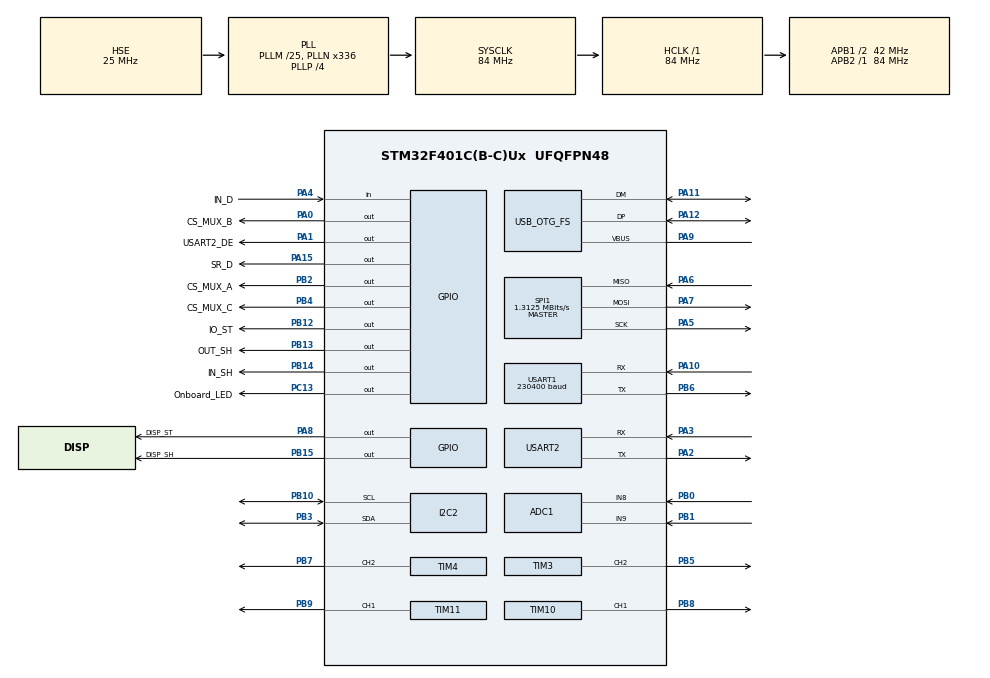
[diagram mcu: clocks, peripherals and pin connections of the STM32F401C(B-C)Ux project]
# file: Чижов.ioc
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ADC1.Channel-10\#ChannelRegularConversion=ADC_CHANNEL_8
ADC1.Channel-11\#ChannelRegularConversion=ADC_CHANNEL_9
ADC1.Channel-12\#ChannelRegularConversion=ADC_CHANNEL_VREFINT
ADC1.Channel-13\#ChannelRegularConversion=ADC_CHANNEL_VBAT
ADC1.Channel-14\#ChannelRegularConversion=ADC_CHANNEL_8
ADC1.Channel-15\#ChannelRegularConversion=ADC_CHANNEL_9
ADC1.Channel-16\#ChannelRegularConversion=ADC_CHANNEL_VREFINT
ADC1.Channel-17\#ChannelRegularConversion=ADC_CHANNEL_VBAT
ADC1.Channel-2\#ChannelRegularConversion=ADC_CHANNEL_8
ADC1.Channel-3\#ChannelRegularConversion=ADC_CHANNEL_9
ADC1.Channel-4\#ChannelRegularConversion=ADC_CHANNEL_VREFINT
ADC1.Channel-5\#ChannelRegularConversion=ADC_CHANNEL_VBAT
ADC1.Channel-6\#ChannelRegularConversion=ADC_CHANNEL_8
ADC1.Channel-7\#ChannelRegularConversion=ADC_CHANNEL_9
ADC1.Channel-8\#ChannelRegularConversion=ADC_CHANNEL_VREFINT
ADC1.Channel-9\#ChannelRegularConversion=ADC_CHANNEL_VBAT
ADC1.ClockPrescaler=ADC_CLOCK_SYNC_PCLK_DIV8
ADC1.DMAContinuousRequests=ENABLE
ADC1.ExternalTrigConv=ADC_EXTERNALTRIGCONV_T2_TRGO
ADC1.NbrOfConversion=16
ADC1.NbrOfConversionFlag=1
ADC1.Rank-10\#ChannelRegularConversion=9
ADC1.Rank-11\#ChannelRegularConversion=10
ADC1.Rank-12\#ChannelRegularConversion=11
ADC1.Rank-13\#ChannelRegularConversion=12
ADC1.Rank-14\#ChannelRegularConversion=13
ADC1.Rank-15\#ChannelRegularConversion=14
ADC1.Rank-16\#ChannelRegularConversion=15
ADC1.Rank-17\#ChannelRegularConversion=16
ADC1.Rank-2\#ChannelRegularConversion=1
ADC1.Rank-3\#ChannelRegularConversion=2
ADC1.Rank-4\#ChannelRegularConversion=3
ADC1.Rank-5\#ChannelRegularConversion=4
ADC1.Rank-6\#ChannelRegularConversion=5
ADC1.Rank-7\#ChannelRegularConversion=6
ADC1.Rank-8\#ChannelRegularConversion=7
ADC1.Rank-9\#ChannelRegularConversion=8
ADC1.SamplingTime-10\#ChannelRegularConversion=ADC_SAMPLETIME_480CYCLES
ADC1.SamplingTime-11\#ChannelRegularConversion=ADC_SAMPLETIME_480CYCLES
ADC1.SamplingTime-12\#ChannelRegularConversion=ADC_SAMPLETIME_480CYCLES
ADC1.SamplingTime-13\#ChannelRegularConversion=ADC_SAMPLETIME_480CYCLES
ADC1.SamplingTime-14\#ChannelRegularConversion=ADC_SAMPLETIME_3CYCLES
ADC1.SamplingTime-15\#ChannelRegularConversion=ADC_SAMPLETIME_480CYCLES
ADC1.SamplingTime-16\#ChannelRegularConversion=ADC_SAMPLETIME_480CYCLES
ADC1.SamplingTime-17\#ChannelRegularConversion=ADC_SAMPLETIME_480CYCLES
ADC1.SamplingTime-2\#ChannelRegularConversion=ADC_SAMPLETIME_480CYCLES
ADC1.SamplingTime-3\#ChannelRegularConversion=ADC_SAMPLETIME_480CYCLES
ADC1.SamplingTime-4\#ChannelRegularConversion=ADC_SAMPLETIME_480CYCLES
ADC1.SamplingTime-5\#ChannelRegularConversion=ADC_SAMPLETIME_480CYCLES
ADC1.SamplingTime-6\#ChannelRegularConversion=ADC_SAMPLETIME_480CYCLES
ADC1.SamplingTime-7\#ChannelRegularConversion=ADC_SAMPLETIME_480CYCLES
ADC1.SamplingTime-8\#ChannelRegularConversion=ADC_SAMPLETIME_480CYCLES
ADC1.SamplingTime-9\#ChannelRegularConversion=ADC_SAMPLETIME_480CYCLES
ADC1.ScanConvMode=ENABLE
ADC1.master=1
Dma.ADC1.0.Direction=DMA_PERIPH_TO_MEMORY
Dma.ADC1.0.FIFOMode=DMA_FIFOMODE_ENABLE
Dma.ADC1.0.FIFOThreshold=DMA_FIFO_THRESHOLD_FULL
Dma.ADC1.0.Instance=DMA2_Stream0
Dma.ADC1.0.MemBurst=DMA_MBURST_INC8
Dma.ADC1.0.MemDataAlignment=DMA_MDATAALIGN_HALFWORD
Dma.ADC1.0.MemInc=DMA_MINC_ENABLE
Dma.ADC1.0.Mode=DMA_CIRCULAR
Dma.ADC1.0.PeriphBurst=DMA_PBURST_SINGLE
Dma.ADC1.0.PeriphDataAlignment=DMA_PDATAALIGN_HALFWORD
Dma.ADC1.0.PeriphInc=DMA_PINC_DISABLE
Dma.ADC1.0.Priority=DMA_PRIORITY_MEDIUM
Dma.I2C2_RX.1.Direction=DMA_PERIPH_TO_MEMORY
Dma.I2C2_RX.1.FIFOMode=DMA_FIFOMODE_ENABLE
Dma.I2C2_RX.1.FIFOThreshold=DMA_FIFO_THRESHOLD_FULL
Dma.I2C2_RX.1.Instance=DMA1_Stream2
Dma.I2C2_RX.1.MemBurst=DMA_MBURST_SINGLE
Dma.I2C2_RX.1.MemDataAlignment=DMA_MDATAALIGN_WORD
Dma.I2C2_RX.1.MemInc=DMA_MINC_ENABLE
Dma.I2C2_RX.1.Mode=DMA_NORMAL
Dma.I2C2_RX.1.PeriphBurst=DMA_PBURST_SINGLE
Dma.I2C2_RX.1.PeriphDataAlignment=DMA_PDATAALIGN_BYTE
Dma.I2C2_RX.1.PeriphInc=DMA_PINC_DISABLE
Dma.I2C2_RX.1.Priority=DMA_PRIORITY_HIGH
Dma.Request0=ADC1
Dma.Request1=I2C2_RX
FREERTOS.Tasks01=defaultTask,24,1024,StartMainTask,As weak,NULL,Static,defaultTaskBuffer,defaultTaskControlBlock
FREERTOS.configENABLE_BACKWARD_COMPATIBILITY=0
FREERTOS.configENABLE_FPU=1
FREERTOS.configMINIMAL_STACK_SIZE=256
FREERTOS.configTIMER_TASK_STACK_DEPTH=512
FREERTOS.configTOTAL_HEAP_SIZE=8192
FREERTOS.configUSE_IDLE_HOOK=0
FREERTOS.configUSE_NEWLIB_REENTRANT=1
FREERTOS.configUSE_OS2_THREAD_ENUMERATE=0
FREERTOS.configUSE_TRACE_FACILITY=1
IWDG.Prescaler=IWDG_PRESCALER_8
Mcu.Family=STM32F4
Mcu.Name=STM32F401C(B-C)Ux
Mcu.Package=UFQFPN48
Mcu.UserConstants=ADC_SAMPLE_PERIOD_US,10000
NVIC.DMA1_Stream2_IRQn=true\:5\:0\:false\:false\:true\:true\:false\:true\:true
NVIC.DMA2_Stream0_IRQn=true\:10\:0\:true\:false\:true\:true\:false\:true\:true
NVIC.I2C2_ER_IRQn=true\:5\:0\:false\:false\:true\:true\:true\:true\:true
NVIC.I2C2_EV_IRQn=true\:5\:0\:false\:false\:true\:true\:true\:true\:true
NVIC.OTG_FS_IRQn=true\:5\:0\:false\:false\:true\:true\:false\:true\:true
NVIC.PriorityGroup=NVIC_PRIORITYGROUP_4
NVIC.TIM1_BRK_TIM9_IRQn=true\:15\:0\:false\:false\:true\:false\:false\:true\:true
NVIC.TimeBase=TIM1_BRK_TIM9_IRQn
NVIC.TimeBaseIP=TIM9
NVIC.USART1_IRQn=true\:8\:0\:true\:false\:true\:true\:true\:true\:true
NVIC.USART2_IRQn=true\:5\:0\:false\:false\:true\:true\:true\:true\:true
PA0-WKUP.GPIO_Label=CS_MUX_B
PA0-WKUP.Signal=GPIO_Output
PA1.GPIO_Label=USART2_DE
PA1.Signal=GPIO_Output
PA10.GPIO_Speed=GPIO_SPEED_FREQ_HIGH
PA10.Mode=Asynchronous
PA10.Signal=USART1_RX
PA11.Mode=Device_Only
PA11.Signal=USB_OTG_FS_DM
PA12.Mode=Device_Only
PA12.Signal=USB_OTG_FS_DP
PA13.Mode=Serial_Wire
PA13.Signal=SYS_JTMS-SWDIO
PA14.Mode=Serial_Wire
PA14.Signal=SYS_JTCK-SWCLK
PA15.GPIO_Label=SR_D
PA15.GPIO_ModeDefaultOutputPP=GPIO_MODE_OUTPUT_OD
PA15.GPIO_PuPd=GPIO_PULLUP
PA15.GPIO_Speed=GPIO_SPEED_FREQ_HIGH
PA15.Signal=GPIO_Output
PA2.GPIO_Speed=GPIO_SPEED_FREQ_HIGH
PA2.Mode=Asynchronous
PA2.Signal=USART2_TX
PA3.GPIO_PuPd=GPIO_PULLUP
PA3.GPIO_Speed=GPIO_SPEED_FREQ_HIGH
PA3.Mode=Asynchronous
PA3.Signal=USART2_RX
PA4.GPIO_Label=IN_D
PA4.Signal=GPIO_Input
PA5.Mode=Full_Duplex_Master
PA5.Signal=SPI1_SCK
PA6.Mode=Full_Duplex_Master
PA6.Signal=SPI1_MISO
PA7.Mode=Full_Duplex_Master
PA7.Signal=SPI1_MOSI
PA8.GPIO_Label=DISP_ST
PA8.GPIO_ModeDefaultOutputPP=GPIO_MODE_OUTPUT_OD
PA8.GPIO_PuPd=GPIO_PULLUP
PA8.GPIO_Speed=GPIO_SPEED_FREQ_HIGH
PA8.Signal=GPIO_Output
PA9.Mode=Activate_VBUS
PA9.Signal=USB_OTG_FS_VBUS
PB0.Signal=ADCx_IN8
PB1.Signal=ADCx_IN9
PB10.Mode=I2C
PB10.Signal=I2C2_SCL
PB12.GPIO_Label=IO_ST
PB12.GPIO_Speed=GPIO_SPEED_FREQ_LOW
PB12.PinState=GPIO_PIN_RESET
PB12.Signal=GPIO_Output
PB13.GPIO_Label=OUT_SH
PB13.GPIO_Speed=GPIO_SPEED_FREQ_MEDIUM
PB13.Signal=GPIO_Output
PB14.GPIO_Label=IN_SH
PB14.GPIO_Speed=GPIO_SPEED_FREQ_MEDIUM
PB14.Signal=GPIO_Output
PB15.GPIO_Label=DISP_SH
PB15.GPIO_ModeDefaultOutputPP=GPIO_MODE_OUTPUT_OD
PB15.GPIO_PuPd=GPIO_PULLUP
PB15.GPIO_Speed=GPIO_SPEED_FREQ_HIGH
PB15.Signal=GPIO_Output
PB2.GPIO_Label=CS_MUX_A
PB2.Signal=GPIO_Output
PB3.Mode=I2C
PB3.Signal=I2C2_SDA
PB4.GPIO_Label=CS_MUX_C
PB4.Signal=GPIO_Output
PB5.GPIO_Speed=GPIO_SPEED_FREQ_MEDIUM
PB5.Signal=S_TIM3_CH2
PB6.GPIO_Speed=GPIO_SPEED_FREQ_HIGH
PB6.Mode=Asynchronous
PB6.Signal=USART1_TX
PB7.GPIO_Speed=GPIO_SPEED_FREQ_MEDIUM
PB7.Signal=S_TIM4_CH2
PB8.GPIO_Speed=GPIO_SPEED_FREQ_MEDIUM
PB8.Signal=S_TIM10_CH1
PB9.GPIO_Speed=GPIO_SPEED_FREQ_MEDIUM
PB9.Signal=S_TIM11_CH1
PC13-ANTI_TAMP.GPIO_Label=Onboard_LED
PC13-ANTI_TAMP.GPIO_ModeDefaultOutputPP=GPIO_MODE_OUTPUT_OD
PC13-ANTI_TAMP.GPIO_PuPd=GPIO_NOPULL
PC13-ANTI_TAMP.PinState=GPIO_PIN_SET
PC13-ANTI_TAMP.Signal=GPIO_Output
PC14-OSC32_IN.Mode=LSE-External-Oscillator
PC14-OSC32_IN.Signal=RCC_OSC32_IN
PC15-OSC32_OUT.Mode=LSE-External-Oscillator
PC15-OSC32_OUT.Signal=RCC_OSC32_OUT
PH0\ -\ OSC_IN.Mode=HSE-External-Oscillator
PH0\ -\ OSC_IN.Signal=RCC_OSC_IN
PH1\ -\ OSC_OUT.Mode=HSE-External-Oscillator
PH1\ -\ OSC_OUT.Signal=RCC_OSC_OUT
ProjectManager.HeapSize=0x200
ProjectManager.StackSize=0x400
ProjectManager.TargetToolchain=Makefile
RCC.48MHZClocksFreq_Value=48000000
RCC.AHBFreq_Value=84000000
RCC.APB1CLKDivider=RCC_HCLK_DIV2
RCC.APB1Freq_Value=42000000
RCC.APB1TimFreq_Value=84000000
RCC.APB2Freq_Value=84000000
RCC.APB2TimFreq_Value=84000000
RCC.CortexFreq_Value=84000000
RCC.HCLKFreq_Value=84000000
RCC.HSE_VALUE=25000000
RCC.HSI_VALUE=16000000
RCC.PLLM=25
RCC.PLLN=336
RCC.PLLP=RCC_PLLP_DIV4
RCC.PLLQ=7
RCC.RCC_RTC_Clock_Source=RCC_RTCCLKSOURCE_LSE
RCC.RCC_RTC_Clock_SourceVirtual=RCC_RTCCLKSOURCE_LSE
RCC.SYSCLKFreq_VALUE=84000000
RCC.SYSCLKSource=RCC_SYSCLKSOURCE_PLLCLK
RCC.VCOOutputFreq_Value=336000000
SH.ADCx_IN8.0=ADC1_IN8,IN8
SH.ADCx_IN9.0=ADC1_IN9,IN9
SH.S_TIM10_CH1.0=TIM10_CH1,PWM Generation1 CH1
SH.S_TIM11_CH1.0=TIM11_CH1,PWM Generation1 CH1
SH.S_TIM3_CH2.0=TIM3_CH2,PWM Generation2 CH2
SH.S_TIM4_CH2.0=TIM4_CH2,PWM Generation2 CH2
SPI1.BaudRatePrescaler=SPI_BAUDRATEPRESCALER_64
SPI1.CLKPolarity=SPI_POLARITY_LOW
SPI1.CalculateBaudRate=1.3125 MBits/s
SPI1.Direction=SPI_DIRECTION_2LINES
SPI1.Mode=SPI_MODE_MASTER
SPI1.VirtualType=VM_MASTER
TIM10.AutoReloadPreload=TIM_AUTORELOAD_PRELOAD_ENABLE
TIM10.Channel=TIM_CHANNEL_1
TIM10.Prescaler=1000-1
TIM10.Pulse=500-1
TIM11.AutoReloadPreload=TIM_AUTORELOAD_PRELOAD_ENABLE
TIM11.Channel=TIM_CHANNEL_1
TIM11.Prescaler=1000-1
TIM11.Pulse=500-1
TIM2.Period=ADC_SAMPLE_PERIOD_US-1
TIM2.Prescaler=84-1
TIM2.TIM_MasterOutputTrigger=TIM_TRGO_UPDATE
TIM2.TIM_MasterSlaveMode=TIM_MASTERSLAVEMODE_ENABLE
TIM3.AutoReloadPreload=TIM_AUTORELOAD_PRELOAD_ENABLE
TIM3.Channel-PWM\ Generation2\ CH2=TIM_CHANNEL_2
TIM3.Prescaler=1000-1
TIM3.Pulse-PWM\ Generation2\ CH2=500-1
TIM4.AutoReloadPreload=TIM_AUTORELOAD_PRELOAD_ENABLE
TIM4.Channel-PWM\ Generation2\ CH2=TIM_CHANNEL_2
TIM4.Prescaler=1000-1
TIM4.Pulse-PWM\ Generation2\ CH2=500-1
TIM5.Prescaler=84-1
USART1.BaudRate=230400
USART1.Parity=PARITY_ODD
USART1.VirtualMode=VM_ASYNC
USART1.WordLength=WORDLENGTH_9B
USART2.Parity=PARITY_ODD
USART2.VirtualMode=VM_ASYNC
USART2.WordLength=WORDLENGTH_9B
USB_DEVICE.APP_RX_DATA_SIZE=256
USB_DEVICE.APP_TX_DATA_SIZE=512
USB_DEVICE.CLASS_NAME_FS=CDC
USB_DEVICE.MANUFACTURER_STRING=MSU
USB_DEVICE.PRODUCT_STRING_CDC_FS=Reactor controller
USB_DEVICE.USBD_MAX_STR_DESC_SIZ=256
USB_DEVICE.VirtualMode=Cdc
USB_DEVICE.VirtualModeFS=Cdc_FS
USB_OTG_FS.VirtualMode=Device_Only
VP_ADC1_Vbat_Input.Mode=IN-Vbat
VP_ADC1_Vref_Input.Mode=IN-Vrefint
VP_CRC_VS_CRC.Mode=CRC_Activate
VP_FREERTOS_VS_CMSIS_V2.Mode=CMSIS_V2
VP_IWDG_VS_IWDG.Mode=IWDG_Activate
VP_RTC_VS_RTC_Activate.Mode=RTC_Enabled
VP_RTC_VS_RTC_Calendar.Mode=RTC_Calendar
VP_SYS_VS_tim9.Mode=TIM9
VP_TIM10_VS_ClockSourceINT.Mode=Enable_Timer
VP_TIM11_VS_ClockSourceINT.Mode=Enable_Timer
VP_TIM2_VS_ClockSourceINT.Mode=Internal
VP_TIM3_VS_ClockSourceINT.Mode=Internal
VP_TIM4_VS_ClockSourceINT.Mode=Internal
VP_TIM5_VS_ClockSourceINT.Mode=Internal
VP_USB_DEVICE_VS_USB_DEVICE_CDC_FS.Mode=CDC_FS
board=custom

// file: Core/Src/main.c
/* USER CODE BEGIN Header */
/**
  ******************************************************************************
  * @file           : main.c
  * @brief          : Main program body
  ******************************************************************************
  * @attention
  *
  * Copyright (c) 2023 STMicroelectronics.
  * All rights reserved.
  *
  * This software is licensed under terms that can be found in the LICENSE file
  * in the root directory of this software component.
  * If no LICENSE file comes with this software, it is provided AS-IS.
  *
  ******************************************************************************
  */
/* USER CODE END Header */
#include "main.h"
#include "cmsis_os.h"
#include "adc.h"
#include "crc.h"
#include "dma.h"
#include "i2c.h"
#include "iwdg.h"
#include "rtc.h"
#include "spi.h"
#include "tim.h"
#include "usart.h"
#include "usb_device.h"
#include "gpio.h"

/* USER CODE BEGIN Includes */
#include <stdio.h>
#include "dfu.h"
#include "../App/ushell/inc/sys_command_line.h"
/* USER CODE END Includes */

void SystemClock_Config(void);
void MX_FREERTOS_Init(void);

int main(void)
{
  /* USER CODE BEGIN 1 */
  if (LL_RCC_IsActiveFlag_WWDGRST())
  {
    LL_RCC_ClearResetFlags();
    __HAL_RCC_WWDG_CLK_DISABLE();
    dfu_jump_to_bootloader();
  }
  /* USER CODE END 1 */

  /* MCU Configuration--------------------------------------------------------*/

  /* Reset of all peripherals, Initializes the Flash interface and the Systick. */
  HAL_Init();

  /* Configure the system clock */
  SystemClock_Config();

  /* USER CODE BEGIN SysInit */
  /*if (is_reset_persistent_flag_set(RESET_DFU_REQUESTED))
  {
    set_reset_persistent_flag(RESET_DFU_REQUESTED, 0);
    dfu_jump_to_bootloader(); //Never returns
  }*/
  /* USER CODE END SysInit */

  /* Initialize all configured peripherals */
  MX_GPIO_Init();
  MX_DMA_Init();
  MX_ADC1_Init();
  MX_I2C2_Init();
  MX_RTC_Init();
  MX_SPI1_Init();
  MX_TIM2_Init();
  MX_TIM5_Init();
  MX_TIM3_Init();
  MX_TIM4_Init();
  MX_TIM10_Init();
  MX_TIM11_Init();
  MX_USART1_UART_Init();
  MX_USART2_UART_Init();
  MX_CRC_Init();
  MX_IWDG_Init();
  /* USER CODE BEGIN 2 */

  HAL_IWDG_Refresh(&hiwdg);
  HAL_TIM_Base_Start(&htim5); //Start microsecond-resolution timer
  HAL_GPIO_TogglePin(Onboard_LED_GPIO_Port, Onboard_LED_Pin);
  HAL_Delay(100);
  HAL_GPIO_TogglePin(Onboard_LED_GPIO_Port, Onboard_LED_Pin);

  /* USER CODE END 2 */

  /* Init scheduler */
  HAL_IWDG_Refresh(&hiwdg);
  osKernelInitialize();  /* Call init function for freertos objects (in freertos.c) */
  MX_FREERTOS_Init();

  /* Start scheduler */
  HAL_IWDG_Refresh(&hiwdg);
  osKernelStart();

  /* We should never get here as control is now taken by the scheduler */
  /* Infinite loop */
  while (1)
  {
    HAL_GPIO_TogglePin(Onboard_LED_GPIO_Port, Onboard_LED_Pin);
    HAL_Delay(10);
  }
}

void SystemClock_Config(void)
{
  RCC_OscInitTypeDef RCC_OscInitStruct = {0};
  RCC_ClkInitTypeDef RCC_ClkInitStruct = {0};

  /** Configure the main internal regulator output voltage
  */
  __HAL_RCC_PWR_CLK_ENABLE();
  __HAL_PWR_VOLTAGESCALING_CONFIG(PWR_REGULATOR_VOLTAGE_SCALE2);

  /** Initializes the RCC Oscillators according to the specified parameters
  * in the RCC_OscInitTypeDef structure.
  */
  RCC_OscInitStruct.OscillatorType = RCC_OSCILLATORTYPE_LSI|RCC_OSCILLATORTYPE_HSE
                              |RCC_OSCILLATORTYPE_LSE;
  RCC_OscInitStruct.HSEState = RCC_HSE_ON;
  RCC_OscInitStruct.LSEState = RCC_LSE_ON;
  RCC_OscInitStruct.LSIState = RCC_LSI_ON;
  RCC_OscInitStruct.PLL.PLLState = RCC_PLL_ON;
  RCC_OscInitStruct.PLL.PLLSource = RCC_PLLSOURCE_HSE;
  RCC_OscInitStruct.PLL.PLLM = 25;
  RCC_OscInitStruct.PLL.PLLN = 336;
  RCC_OscInitStruct.PLL.PLLP = RCC_PLLP_DIV4;
  RCC_OscInitStruct.PLL.PLLQ = 7;
  if (HAL_RCC_OscConfig(&RCC_OscInitStruct) != HAL_OK)
  {
    Error_Handler();
  }

  /** Initializes the CPU, AHB and APB buses clocks
  */
  RCC_ClkInitStruct.ClockType = RCC_CLOCKTYPE_HCLK|RCC_CLOCKTYPE_SYSCLK
                              |RCC_CLOCKTYPE_PCLK1|RCC_CLOCKTYPE_PCLK2;
  RCC_ClkInitStruct.SYSCLKSource = RCC_SYSCLKSOURCE_PLLCLK;
  RCC_ClkInitStruct.AHBCLKDivider = RCC_SYSCLK_DIV1;
  RCC_ClkInitStruct.APB1CLKDivider = RCC_HCLK_DIV2;
  RCC_ClkInitStruct.APB2CLKDivider = RCC_HCLK_DIV1;

  if (HAL_RCC_ClockConfig(&RCC_ClkInitStruct, FLASH_LATENCY_2) != HAL_OK)
  {
    Error_Handler();
  }
}

void HAL_TIM_PeriodElapsedCallback(TIM_HandleTypeDef *htim)
{
  if (htim->Instance == TIM9) {
    HAL_IncTick();
  }
}

void Error_Handler(void)
{
  __disable_irq();
  while (1)
  {
  }
}

#ifdef  USE_FULL_ASSERT
/**
  * @brief  Reports the name of the source file and the source line number
  *         where the assert_param error has occurred.
  * @param  file: pointer to the source file name
  * @param  line: assert_param error line source number
  * @retval None
  */
void assert_failed(uint8_t *file, uint32_t line)
{
  /* USER CODE BEGIN 6 */
  ERR("Wrong parameters value: file %s on line %lu\r\n", file, line);
  /* USER CODE END 6 */
}
#endif /* USE_FULL_ASSERT */

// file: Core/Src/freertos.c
/* USER CODE BEGIN Header */
/**
  ******************************************************************************
  * File Name          : freertos.c
  * Description        : Code for freertos applications
  ******************************************************************************
  * @attention
  *
  * Copyright (c) 2023 STMicroelectronics.
  * All rights reserved.
  *
  * This software is licensed under terms that can be found in the LICENSE file
  * in the root directory of this software component.
  * If no LICENSE file comes with this software, it is provided AS-IS.
  *
  ******************************************************************************
  */
/* USER CODE END Header */

#include "FreeRTOS.h"
#include "task.h"
#include "main.h"
#include "cmsis_os.h"

/* USER CODE BEGIN Includes */
#include "../App/task_handles.h"
/* USER CODE END Includes */

typedef StaticTask_t osStaticThreadDef_t;

/* Definitions for defaultTask */
osThreadId_t defaultTaskHandle;
uint32_t defaultTaskBuffer[ 1024 ];
osStaticThreadDef_t defaultTaskControlBlock;
const osThreadAttr_t defaultTask_attributes = {
  .name = "defaultTask",
  .cb_mem = &defaultTaskControlBlock,
  .cb_size = sizeof(defaultTaskControlBlock),
  .stack_mem = &defaultTaskBuffer[0],
  .stack_size = sizeof(defaultTaskBuffer),
  .priority = (osPriority_t) osPriorityNormal,
};

void StartMainTask(void *argument);

extern void MX_USB_DEVICE_Init(void);
void MX_FREERTOS_Init(void); /* (MISRA C 2004 rule 8.1) */

void MX_FREERTOS_Init(void) {
  /* USER CODE BEGIN Init */

  defaultTaskHandle = osThreadNew(StartMainTask, NULL, &defaultTask_attributes);

  /* USER CODE END Init */
/* USER CODE BEGIN Header */
/**
  ******************************************************************************
  * File Name          : freertos.c
  * Description        : Code for freertos applications
  ******************************************************************************
  * @attention
  *
  * Copyright (c) 2023 STMicroelectronics.
  * All rights reserved.
  *
  * This software is licensed under terms that can be found in the LICENSE file
  * in the root directory of this software component.
  * If no LICENSE file comes with this software, it is provided AS-IS.
  *
  ******************************************************************************
  */
/* USER CODE END Header */

}

__weak void StartMainTask(void *argument)
{
  /* init code for USB_DEVICE */
  MX_USB_DEVICE_Init();
  /* USER CODE BEGIN StartMainTask */
  /* Infinite loop */
  for(;;)
  {
    osDelay(10);
    HAL_GPIO_TogglePin(Onboard_LED_GPIO_Port, Onboard_LED_Pin);
  }
  /* USER CODE END StartMainTask */
}
